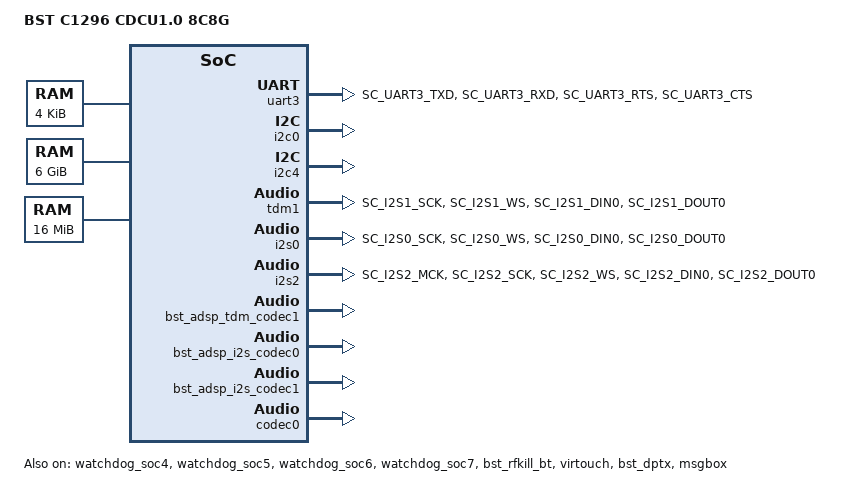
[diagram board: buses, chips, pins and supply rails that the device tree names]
/dts-v1/;
/plugin/;

#include <dt-bindings/interrupt-controller/arm-gic.h>

/{
    fragment_root {
        target-path = "/";
	__overlay__ {
		/* This section was used on AOSP v9.0 for defining first-stage fstab records */
		model = "BST C1296 CDCU1.0 8C8G";
		firmware {
			android {
				compatible = "android,firmware";

				fstab {
					compatible = "android,fstab";
				};
			};
		};

		/* This is used to push the total usable DDR to Normal Zone
		 * DON NOT USE IT !!!
		 */
		memory@1000000 {
			device_type = "memory";
			reg = <0x0 0x1000000 0x0 0x1000>;
		};

		memory@c00000000 {
			device_type = "memory";
			reg = <0xc 0x40000000 0x1 0x80000000>;
		};

		memory@80e000000 {
			device_type = "memory";
			reg = <0x8 0x0e000000 0x0 0x1000000>;
		};

		cpus {
			#address-cells = <1>;
			#size-cells = <0>;

			cpu_b3: cpu@103 {
				compatible = "arm,cortex-a78", "arm,armv8";
				device_type = "cpu";
				enable-method = "psci";
				next-level-cache = <&l2_103>;
				reg = <0x10300>;
				freq-domain = <&cpufreq 1>;
			
				i-cache-size = <0x10000>;
				i-cache-line-size = <64>;
				i-cache-sets = <256>;
				d-cache-size = <0x10000>;
				d-cache-line-size = <64>;
				d-cache-sets = <256>;

				l2_103: l2-cache {
					compatible = "cache";
					cache-level = <2>;
					next-level-cache = <&l3_1>;
					cache-size = <0x80000>;
					cache-line-size = <64>;
					cache-sets = <1024>;
				};
			};

			cpu_b2: cpu@102 {
				compatible = "arm,cortex-a78", "arm,armv8";
				device_type = "cpu";
				enable-method = "psci";
				next-level-cache = <&l2_102>;
				reg = <0x10200>;
				freq-domain = <&cpufreq 1>;

				i-cache-size = <0x10000>;
				i-cache-line-size = <64>;
				i-cache-sets = <256>;
				d-cache-size = <0x10000>;
				d-cache-line-size = <64>;
				d-cache-sets = <256>;

				l2_102: l2-cache {
					compatible = "cache";
					cache-level = <2>;
					next-level-cache = <&l3_1>;
					cache-size = <0x80000>;
					cache-line-size = <64>;
					cache-sets = <1024>;
				};
			};

			cpu_b1: cpu@101 {
				compatible = "arm,cortex-a78", "arm,armv8";
				device_type = "cpu";
				enable-method = "psci";
				next-level-cache = <&l2_101>;
				reg = <0x10100>;
				freq-domain = <&cpufreq 1>;

				i-cache-size = <0x10000>;
				i-cache-line-size = <64>;
				i-cache-sets = <256>;
				d-cache-size = <0x10000>;
				d-cache-line-size = <64>;
				d-cache-sets = <256>;

				l2_101: l2-cache {
					compatible = "cache";
					cache-level = <2>;
					next-level-cache = <&l3_1>;
					cache-size = <0x80000>;
					cache-line-size = <64>;
					cache-sets = <1024>;
				};
			};

			cpu_b0: cpu@100 {
				compatible = "arm,cortex-a78", "arm,armv8";
				device_type = "cpu";
				enable-method = "psci";
				next-level-cache = <&l2_100>;
				reg = <0x10000>;
				freq-domain = <&cpufreq 1>;

				i-cache-size = <0x10000>;
				i-cache-line-size = <64>;
				i-cache-sets = <256>;
				d-cache-size = <0x10000>;
				d-cache-line-size = <64>;
				d-cache-sets = <256>;

				l2_100: l2-cache {
					compatible = "cache";
					cache-level = <2>;
					next-level-cache = <&l3_1>;
					cache-size = <0x80000>;
					cache-line-size = <64>;
					cache-sets = <1024>;

				};
			};

			l3_1: l3-cache@1 {
				compatible = "cache";
				cache-level = <3>;
				cache-size = <0x200000>;
				cache-line-size = <64>;
				cache-sets = <2048>;
			};

			cpu_l3: cpu@3 {
				compatible = "arm,cortex-a78", "arm,armv8";
				device_type = "cpu";
				enable-method = "psci";
				next-level-cache = <&l2_3>;
				reg = <0x300>;
				freq-domain = <&cpufreq 0>;

				i-cache-size = <0x10000>;
				i-cache-line-size = <64>;
				i-cache-sets = <256>;
				d-cache-size = <0x10000>;
				d-cache-line-size = <64>;
				d-cache-sets = <256>;

				l2_3: l2-cache {
					compatible = "cache";
					cache-level = <2>;
					next-level-cache = <&l3_0>;
					cache-size = <0x80000>;
					cache-line-size = <64>;
					cache-sets = <1024>;
				};
			};

			cpu_l2: cpu@2 {
				compatible = "arm,cortex-a78", "arm,armv8";
				device_type = "cpu";
				enable-method = "psci";
				next-level-cache = <&l2_2>;
				reg = <0x200>;
				freq-domain = <&cpufreq 0>;

				i-cache-size = <0x10000>;
				i-cache-line-size = <64>;
				i-cache-sets = <256>;
				d-cache-size = <0x10000>;
				d-cache-line-size = <64>;
				d-cache-sets = <256>;

				l2_2: l2-cache {
					compatible = "cache";
					cache-level = <2>;
					next-level-cache = <&l3_0>;
					cache-size = <0x80000>;
					cache-line-size = <64>;
					cache-sets = <1024>;
				};
			};

			cpu_l1: cpu@1 {
				compatible = "arm,cortex-a78", "arm,armv8";
				device_type = "cpu";
				enable-method = "psci";
				next-level-cache = <&l2_1>;
				reg = <0x100>;
				freq-domain = <&cpufreq 0>;

				i-cache-size = <0x10000>;
				i-cache-line-size = <64>;
				i-cache-sets = <256>;
				d-cache-size = <0x10000>;
				d-cache-line-size = <64>;
				d-cache-sets = <256>;

				l2_1: l2-cache {
					compatible = "cache";
					cache-level = <2>;
					next-level-cache = <&l3_0>;
					cache-size = <0x80000>;
					cache-line-size = <64>;
					cache-sets = <1024>;
				};
			};

			cpu_l0: cpu@0 {
				compatible = "arm,cortex-a78", "arm,armv8";
				device_type = "cpu";
				enable-method = "psci";
				next-level-cache = <&l2_0>;
				reg = <0x0>;
				freq-domain = <&cpufreq 0>;

				i-cache-size = <0x10000>;
				i-cache-line-size = <64>;
				i-cache-sets = <256>;
				d-cache-size = <0x10000>;
				d-cache-line-size = <64>;
				d-cache-sets = <256>;

				l2_0: l2-cache {
					compatible = "cache";
					cache-level = <2>;
					next-level-cache = <&l3_0>;
					cache-size = <0x80000>;
					cache-line-size = <64>;
					cache-sets = <1024>;
				};
			};

			l3_0: l3-cache@0 {
				compatible = "cache";
				cache-level = <3>;
				cache-size = <0x200000>;
				cache-line-size = <64>;
				cache-sets = <2048>;
			};
	};
	};
    };
};
&scmi_pinctrl {    
    uart3_pinctrl:uart3_pinctrl  {
        mux {
            pins = "SC_UART3_TXD", "SC_UART3_RXD","SC_UART3_RTS", "SC_UART3_CTS";
            function = "uart3";
        };
    };

    gpio_pinctrl:gpio_pinctrl {
        mux {
            pins = "WK_GPIO13", "SC_I2S1_MCK", "SC_I2S0_MCK", "SC_I2S2_DIN1", "SC_I2S2_DOUT1",
            "SC_I2S2_DIN2", "SC_I2S2_DOUT2", "SC_I2S2_DIN3", "SC_I2S2_DOUT3";
            function = "gpio";
        };
    };
    tdm0_pinctrl:tdm0_pinctrl  {
        mux {
            pins = "SC_I2S0_SCK", "SC_I2S0_WS", "SC_I2S0_DIN0", "SC_I2S0_DOUT0";
            function = "pcm0";
        };
    };
    tdm1_pinctrl:tdm1_pinctrl  {
        mux {
            pins = "SC_I2S1_SCK", "SC_I2S1_WS", "SC_I2S1_DIN0", "SC_I2S1_DOUT0";
            function = "pcm1";
        };
    };
    i2s0_pinctrl:i2s0_pinctrl  {
        mux {
            pins = "SC_I2S0_SCK", "SC_I2S0_WS", "SC_I2S0_DIN0", "SC_I2S0_DOUT0";
            function = "i2s0";
        };
    };
    i2s1_pinctrl:i2s1_pinctrl  {
        mux {
            pins = "SC_I2S1_SCK", "SC_I2S1_WS", "SC_I2S1_DIN0", "SC_I2S1_DOUT0";
            function = "i2s1";
        };
    };
    i2s2_pinctrl:i2s2_pinctrl  {
        mux {
            pins = "SC_I2S2_MCK", "SC_I2S2_SCK", "SC_I2S2_WS", "SC_I2S2_DIN0", "SC_I2S2_DOUT0";
            function = "i2s2";
        };
    };

    hpd_pinctrl:hpd_pinctrl {
        mux {
            pins = "EDP_HPD";
            function = "edp";
        };
    };
    lvds0_pinconfig:lvds0_pinconfig {
        config {
            pins = "LVDS0_ODD_TX0", "LVDS0_ODD_TX1", "LVDS0_ODD_TX2", "LVDS0_ODD_TX3", "LVDS0_ODD_CLKN";
            input-enable;
        };
    };
    lvds1_pinconfig:lvds1_pinconfig {
        config {
            pins = "LVDS0_EVEN_TX0", "LVDS0_EVEN_TX1", "LVDS0_EVEN_TX2", "LVDS0_EVEN_TX3", "LVDS0_EVEN_CLKN";
            input-enable;
        };
    };
    sw_gmac_pinctrl:sw_gmac_pinctrl {
		mux {
			pins = "SW_XGMAC2_MDIO", "SW_XGMAC2_MDC";    //PAD NAME
			function = "sw_gmac"; 
		};
	};
};
&uart3 {
    status = "okay";
    pinctrl-names = "default";
    pinctrl-0 = <&uart3_pinctrl>;
};
&gpio0 {
	status = "okay";
	pinctrl-names = "default";
	pinctrl-0 = <&gpio_pinctrl &isp_pinctrl &deser_pinctrl>;
};

&i2c0 {
	status = "okay";
};

&i2c1 {
	status = "disable";
};

&i2c2 {
	status = "disable";
};

&i2c3 {
	status = "disable";
};

&i2c4 {
	status = "okay";
};

&i2c5 {
	status = "disable";
};

&i2c6 {
	status = "disable";
};

&i2c7 {
	status = "disable";
};



&watchdog_soc4 {
	status = "okay";
	bst_wdt_name = "soc_a78_wdt4";
};
&watchdog_soc5 {
	status = "okay";
	bst_wdt_name = "soc_a78_wdt5";
};
&watchdog_soc6 {
	status = "okay";
	bst_wdt_name = "soc_a78_wdt6";
};
&watchdog_soc7 {
	status = "okay";
	bst_wdt_name = "soc_a78_wdt7";
};



&tdm1 {
    status = "okay";
    //use-dma;
    pinctrl-names = "default";
    pinctrl-0 = <&tdm1_pinctrl>;
    slot_cnt = <8>;
};

&i2s0 {
    status = "okay";
    use-dma;
    pinctrl-names = "default";
    pinctrl-0 = <&i2s0_pinctrl>;
};

&i2s2 {
    status = "okay";
    use-dma;
    pinctrl-names = "default";
    pinctrl-0 = <&i2s2_pinctrl>;
};

&bst_adsp_tdm_codec1 {
    status = "okay";
};

&bst_adsp_i2s_codec0 {
    status = "okay";
};

&bst_adsp_i2s_codec1 {
    status = "okay";
};

&bst_rfkill_bt {
    status = "okay";
};

&virtouch {
	status = "okay";
};

&bst_dptx {
    status = "okay";
    pinctrl-names = "default";
    pinctrl-0 = <&hpd_pinctrl>;
};
&gmac0 {
	status = "disable";
	phy-handle = <&eth_phy1>;
	extend-op = <20>;
	phy-mode = "sgmii";
	mac-mode = "gmii";
    xpcs-addr = <1>;
	/*bypass;  //bool, set: bypass , non set : non bypass
	pinctrl-names = "default"; //bypass
    pinctrl-0 = <&sw_gmac_pinctrl>;*/

	mdio {
		compatible = "snps,dwmac-mdio";
		#address-cells = <1>;
		#size-cells = <0>;
		status = "okay";		
		eth_phy1: eth_phy1@1 {
			compatible = "marvell,88E1510", "ethernet-phy-id0141.0DD1", "ethernet-phy-ieee802.3-c22";
			device_type = "ethernet-phy";
			max-speed = <1000>;
			reg = <0x1>;
			reset-active-low;
			reset-gpios = <&portf 4 1>; //gpio 164
			reset-assert-us = <20000>;
			reset-deassert-us = <20000>;
		};
		
	};
};

&gdma0 {
	status = "okay";
	dma-channels = <30>;
        snps,chan-start = <0>;
        snps,block-size = <1048576 1048576 1048576 1048576 1048576 1048576
                           1048576 1048576 1048576 1048576 1048576 1048576 1048576 1048576
                           1048576 1048576 1048576 1048576 1048576 1048576 1048576 1048576
                           1048576 1048576 1048576 1048576 1048576 1048576 1048576 1048576>;

        snps,priority = <29 28 27 26 25 24
                        23 22 21 20 19 18 17 16
                        15 14 13 12 11 10 9 8
                        7 6 5 4 3 2 1 0>;
			interrupts = <            GIC_SPI 385 (GIC_CPU_MASK_SIMPLE(8) | IRQ_TYPE_LEVEL_HIGH)
                                                  GIC_SPI 386 (GIC_CPU_MASK_SIMPLE(8) | IRQ_TYPE_LEVEL_HIGH)
                                                  GIC_SPI 387 (GIC_CPU_MASK_SIMPLE(8) | IRQ_TYPE_LEVEL_HIGH)
                                                  GIC_SPI 388 (GIC_CPU_MASK_SIMPLE(8) | IRQ_TYPE_LEVEL_HIGH)
                                                  GIC_SPI 389 (GIC_CPU_MASK_SIMPLE(8) | IRQ_TYPE_LEVEL_HIGH)
                                                  GIC_SPI 390 (GIC_CPU_MASK_SIMPLE(8) | IRQ_TYPE_LEVEL_HIGH)
                                                  GIC_SPI 391 (GIC_CPU_MASK_SIMPLE(8) | IRQ_TYPE_LEVEL_HIGH)
                                                  GIC_SPI 392 (GIC_CPU_MASK_SIMPLE(8) | IRQ_TYPE_LEVEL_HIGH)
                                                  GIC_SPI 393 (GIC_CPU_MASK_SIMPLE(8) | IRQ_TYPE_LEVEL_HIGH)
                                                  GIC_SPI 394 (GIC_CPU_MASK_SIMPLE(8) | IRQ_TYPE_LEVEL_HIGH)
                                                  GIC_SPI 395 (GIC_CPU_MASK_SIMPLE(8) | IRQ_TYPE_LEVEL_HIGH)
                                                  GIC_SPI 396 (GIC_CPU_MASK_SIMPLE(8) | IRQ_TYPE_LEVEL_HIGH)
                                                  GIC_SPI 397 (GIC_CPU_MASK_SIMPLE(8) | IRQ_TYPE_LEVEL_HIGH)
                                                  GIC_SPI 398 (GIC_CPU_MASK_SIMPLE(8) | IRQ_TYPE_LEVEL_HIGH)
                                                  GIC_SPI 399 (GIC_CPU_MASK_SIMPLE(8) | IRQ_TYPE_LEVEL_HIGH)
                                                  GIC_SPI 400 (GIC_CPU_MASK_SIMPLE(8) | IRQ_TYPE_LEVEL_HIGH)
                                                  GIC_SPI 401 (GIC_CPU_MASK_SIMPLE(8) | IRQ_TYPE_LEVEL_HIGH)
                                                  GIC_SPI 402 (GIC_CPU_MASK_SIMPLE(8) | IRQ_TYPE_LEVEL_HIGH)
                                                  GIC_SPI 403 (GIC_CPU_MASK_SIMPLE(8) | IRQ_TYPE_LEVEL_HIGH)
                                                  GIC_SPI 404 (GIC_CPU_MASK_SIMPLE(8) | IRQ_TYPE_LEVEL_HIGH)
                                                  GIC_SPI 405 (GIC_CPU_MASK_SIMPLE(8) | IRQ_TYPE_LEVEL_HIGH)
                                                  GIC_SPI 406 (GIC_CPU_MASK_SIMPLE(8) | IRQ_TYPE_LEVEL_HIGH)
                                                  GIC_SPI 407 (GIC_CPU_MASK_SIMPLE(8) | IRQ_TYPE_LEVEL_HIGH)
                                                  GIC_SPI 408 (GIC_CPU_MASK_SIMPLE(8) | IRQ_TYPE_LEVEL_HIGH)
                                                  GIC_SPI 409 (GIC_CPU_MASK_SIMPLE(8) | IRQ_TYPE_LEVEL_HIGH)
                                                  GIC_SPI 410 (GIC_CPU_MASK_SIMPLE(8) | IRQ_TYPE_LEVEL_HIGH)
                                                  GIC_SPI 411 (GIC_CPU_MASK_SIMPLE(8) | IRQ_TYPE_LEVEL_HIGH)
                                                  GIC_SPI 412 (GIC_CPU_MASK_SIMPLE(8) | IRQ_TYPE_LEVEL_HIGH)
                                                  GIC_SPI 413 (GIC_CPU_MASK_SIMPLE(8) | IRQ_TYPE_LEVEL_HIGH)
                                                  GIC_SPI 414 (GIC_CPU_MASK_SIMPLE(8) | IRQ_TYPE_LEVEL_HIGH)>;
                };
&msgbox {
	status = "okay";
	spi-irq-num = <4>;
	filter-num = <8>;
	// id = <0x0>;
	// end0 and end1 spi irq
	interrupts =    <
			GIC_PPI 2 (GIC_CPU_MASK_SIMPLE(8) | IRQ_TYPE_LEVEL_LOW)
			GIC_PPI 3 (GIC_CPU_MASK_SIMPLE(8) | IRQ_TYPE_LEVEL_LOW)
			GIC_PPI 4 (GIC_CPU_MASK_SIMPLE(8) | IRQ_TYPE_LEVEL_LOW)
			GIC_PPI 15 (GIC_CPU_MASK_SIMPLE(8) | IRQ_TYPE_LEVEL_LOW)
			/*end16 ~ end19*/
			GIC_SPI 544 (IRQ_TYPE_LEVEL_HIGH)
			GIC_SPI 545 (IRQ_TYPE_LEVEL_HIGH)
			GIC_SPI 546 (IRQ_TYPE_LEVEL_HIGH)
			GIC_SPI 547 (IRQ_TYPE_LEVEL_HIGH)
			GIC_SPI 548 (IRQ_TYPE_LEVEL_HIGH)
			GIC_SPI 549 (IRQ_TYPE_LEVEL_HIGH)
			GIC_SPI 550 (IRQ_TYPE_LEVEL_HIGH)
			GIC_SPI 551 (IRQ_TYPE_LEVEL_HIGH)
			GIC_SPI 552 (IRQ_TYPE_LEVEL_HIGH)
			GIC_SPI 553 (IRQ_TYPE_LEVEL_HIGH)
			GIC_SPI 554 (IRQ_TYPE_LEVEL_HIGH)
			GIC_SPI 555 (IRQ_TYPE_LEVEL_HIGH)
			GIC_SPI 556 (IRQ_TYPE_LEVEL_HIGH)
			GIC_SPI 557 (IRQ_TYPE_LEVEL_HIGH)
			GIC_SPI 558 (IRQ_TYPE_LEVEL_HIGH)
			GIC_SPI 559 (IRQ_TYPE_LEVEL_HIGH)
			/*end20 ~ end23*/
			GIC_SPI 560 (IRQ_TYPE_LEVEL_HIGH)
			GIC_SPI 561 (IRQ_TYPE_LEVEL_HIGH)
			GIC_SPI 562 (IRQ_TYPE_LEVEL_HIGH)
			GIC_SPI 563 (IRQ_TYPE_LEVEL_HIGH)
			GIC_SPI 564 (IRQ_TYPE_LEVEL_HIGH)
			GIC_SPI 565 (IRQ_TYPE_LEVEL_HIGH)
			GIC_SPI 566 (IRQ_TYPE_LEVEL_HIGH)
			GIC_SPI 567 (IRQ_TYPE_LEVEL_HIGH)
			GIC_SPI 568 (IRQ_TYPE_LEVEL_HIGH)
			GIC_SPI 569 (IRQ_TYPE_LEVEL_HIGH)
			GIC_SPI 570 (IRQ_TYPE_LEVEL_HIGH)
			GIC_SPI 571 (IRQ_TYPE_LEVEL_HIGH)
			GIC_SPI 572 (IRQ_TYPE_LEVEL_HIGH)
			GIC_SPI 573 (IRQ_TYPE_LEVEL_HIGH)
			GIC_SPI 574 (IRQ_TYPE_LEVEL_HIGH)
			GIC_SPI 575 (IRQ_TYPE_LEVEL_HIGH)
			>;
	#mbox-cells = <0x1>;
};

&codec0 {
	compatible = "arm china,linlon-v5";
	/* PMU_CODEC0 value defined in safety power domain */
	power-domains = <&scmi_devpd 0x19>;
	status = "okay";
};
